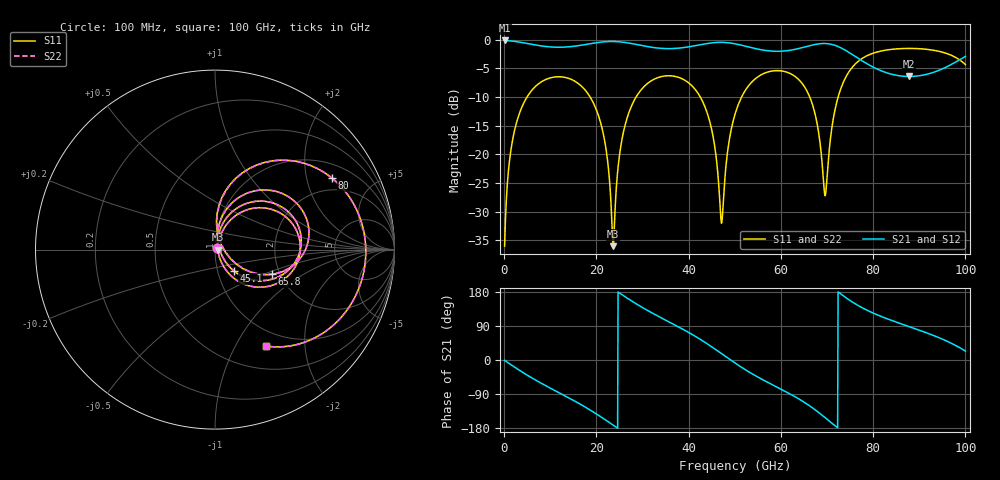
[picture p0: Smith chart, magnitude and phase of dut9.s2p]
! Touchstone file exported from HFSS 2026.1.0
!  File:  C:/ffzhzh/LocalFiles/Ansys_Project_Files/temp_train_TSV_RDL_9_1783436902_50928.aedt
!  Generated:  11:24:28 PM Jul  7, 2026
!  Design:  TSV_RDL
!  Project:  temp_train_TSV_RDL_9_1783436902_50928
! Variables:
!  h_bsmrdl = 3.1um
!  h_ox = 20um
!  h_rdl = 5um
!  h_sub = 57.25um
!  h_tmrdl = 2.12um
!  h_tsv = 57.25um
!  h_via = 3um
!  l_bsmrdl = 101.83um
!  l_sub = 2562.57um
!  l_tmrdl = 423.53um
!  m_sub = 200um
!  pitch = 51.48um
!  r_tsv = 9.71um
!  s_tmrdl = 10um
!  w_bsmrdl = 27.81um
!  w_sub = 500um
!  w_tmrdl = 26.51um
!  x_tsv_center1 = 436.785um
!  x_tsv_center2 = 566.425um
!  x_tsv_center3 = 1016.465um
!  x_tsv_center4 = 1146.105um
!  x_tsv_center5 = 1596.145um
!  x_tsv_center6 = 1725.785um
# GHz S MA R 50.000000
! Terminal data exported
! Port[1] = TM_RDL1_1_T1
! Port[2] = TM_RDL5_1_T1
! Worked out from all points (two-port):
!   1000 points, 100 MHz to 100 GHz, reference 50 ohm
!   highest |S21| = -0.12 dB at 100 MHz (marker M1); lowest = -6.4 dB at 87.8 GHz (marker M2)
!   |S21| within 3 dB of the highest: start of sweep to 76.52 GHz; 99.55927 GHz to end of sweep
!   lowest |S11| = -36.1 dB at 23.6 GHz (marker M3), VSWR 1.03, Z = 51.6 - j0.117 ohm
!   |S11| at or under -10 dB: 18.64 GHz to 28.6 GHz (9.964 GHz wide, 42.2 % of centre); 42.52 GHz to 51.48 GHz (8.959 GHz wide, 19.1 % of centre); 66.25 GHz to 72.41 GHz (6.156 GHz wide, 8.88 % of centre) (the widest 3 of 4)
!   |S22| runs from -36.1 to -1.5 dB; largest |S21 - S12| = 2.6e-14
!   S11 on the Smith chart (normalised r, x): 100 MHz: 1.03, +0.02; 45.1 GHz: 1.19, -0.29; 65.8 GHz: 1.82, -0.57; 80 GHz: 1.48, +2.83; 100 GHz: 0.79, -1.34
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0.1  0.01578 30.5  0.9865 -0.9  0.9865 -0.9  0.01578 30.5
! Gamma 0 0 0 0
! Port Impedance 50 0 50 0
1.7  0.1246 67.3  0.974 -14.2  0.974 -14.2  0.1246 67.3
4.6  0.2985 49.3  0.935 -37.0  0.935 -37.0  0.2985 49.4
11  0.4733 7.7  0.8618 -80.6  0.8618 -80.6  0.4733 7.8
16.8  0.3922 -28.9  0.8976 -118.6  0.8976 -118.6  0.3922 -28.9
21.3  0.1638 -59.1  0.9572 -152.7  0.9572 -152.7  0.1638 -59.2
23.6  0.01575 -4.1  0.9667 -171.6  0.9667 -171.6  0.01562 -4.2
26.7  0.2099 67.9  0.941 163.1  0.941 163.1  0.2099 68.0
33.4  0.4684 23.9  0.8461 115.5  0.8461 115.5  0.4684 24.0
40.8  0.393 -21.8  0.879 67.2  0.879 67.2  0.393 -21.7
45.1  0.1568 -48.6  0.9405 33.9  0.9405 33.9  0.1568 -48.3
47.2  0.02532 26.1  0.9494 16.1  0.9494 16.1  0.02607 26.1
50.1  0.2268 74.7  0.9214 -8.4  0.9214 -8.4  0.227 74.6
59.2  0.5378 17.5  0.7932 -71.8  0.7932 -71.8  0.5378 17.6
65.8  0.347 -23.4  0.8787 -117.4  0.8787 -117.4  0.3472 -23.1
66.7  0.2828 -29.0  0.8973 -125.0  0.8973 -125.0  0.283 -28.7
69.6  0.04341 27.2  0.9281 -152.2  0.9281 -152.2  0.0455 27.2
73.1  0.385 76.0  0.847 173.3  0.847 173.3  0.3853 75.7
80  0.7634 31.6  0.5773 123.9  0.5773 123.9  0.7635 31.5
83.4  0.8193 15.8  0.508 107.2  0.508 107.2  0.8194 15.7
87.8  0.8404 -2.1  0.4781 88.1  0.4781 88.1  0.8405 -2.2
100  0.6075 -62.1  0.7152 23.7  0.7152 23.7  0.6074 -62.2
